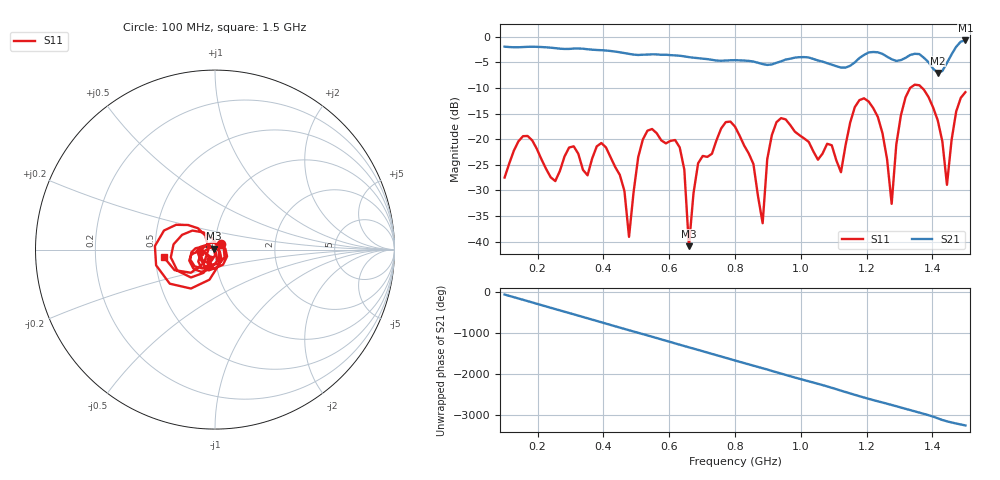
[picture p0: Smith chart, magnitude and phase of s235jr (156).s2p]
! NanoVNA-App
! Date: 2025-09-25 15:05:23
! Start: 100MHz Stop: 1,5GHz Points: 101
! S-Parameter data: F S11 S21 S12 S22
# Hz S RI R 50
!  Frequency  S11_Real  S11_Imag  S21_Real  S21_Imag  S12_Real  S12_Imag  S22_Real  S22_Imag
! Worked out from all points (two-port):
!   101 points, 100 MHz to 1.5 GHz, reference 50 ohm
!   highest |S21| = -0.76 dB at 1.5 GHz (marker M1); lowest = -7.1 dB at 1.416 GHz (marker M2)
!   |S21| within 3 dB of the highest: start of sweep to 634.4 MHz; 1.188 GHz to 1.258 GHz (69.79 MHz wide, 5.71 % of centre) (the widest 2 of 4)
!   lowest |S11| = -40.9 dB at 660 MHz (marker M3), VSWR 1.02, Z = 49.3 + j0.561 ohm
!   |S11| at or under -10 dB: start of sweep to 1.332 GHz; 1.368 GHz to end of sweep
!   S12 and S22 are empty: the file has one direction only
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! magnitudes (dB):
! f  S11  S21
! 100 MHz  -27.5  -2.0
! 156 MHz  -19.4  -2.0
! 338 MHz  -26.0  -2.4
! 408 MHz  -21.6  -2.7
! 478 MHz  -39.0  -3.4
! 520 MHz  -20.1  -3.5
! 576 MHz  -20.2  -3.5
! 632 MHz  -21.6  -3.7
! 660 MHz  -40.9  -4.0
! 688 MHz  -24.7  -4.2
! 800 MHz  -17.6  -4.6
! 884 MHz  -36.4  -5.4
! 926 MHz  -16.7  -5.1
! 1.038 GHz  -22.4  -4.4
! 1.122 GHz  -26.4  -6.0
! 1.192 GHz  -12.0  -3.6
! 1.248 GHz  -18.8  -3.4
! 1.276 GHz  -32.6  -4.4
! 1.332 GHz  -10.0  -3.6
! 1.416 GHz  -16.3  -7.1
! 1.444 GHz  -28.9  -5.1
! 1.5 GHz  -10.8  -0.8
